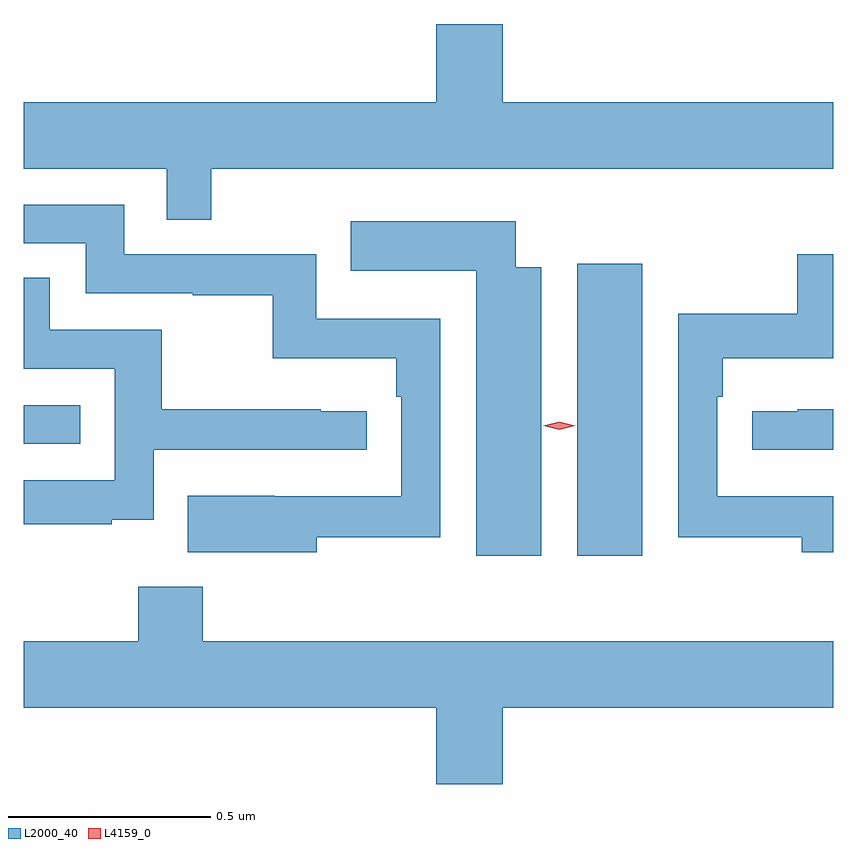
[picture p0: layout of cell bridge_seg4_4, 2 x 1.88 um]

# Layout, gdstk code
import gdstk
lib = gdstk.Library(unit=1e-6, precision=1e-09)
def R(c, l, rs):  # rectangles x0, y0, x1, y1
    for r in rs: c.add(gdstk.rectangle(r[:2], r[2:], *l))
def P(c, l, *ps):  # polygons
    for p in ps: c.add(gdstk.Polygon(p, *l))
L2000_40 = (2000, 40)
L4159_0 = (4159, 0)

bridge_seg4_4 = lib.new_cell('bridge_seg4_4')
R(bridge_seg4_4, L2000_40, [(908.612,785.208,908.773,785.929), (907.245,785.484,907.385,785.58)])
P(bridge_seg4_4, L2000_40, [(907.708,786.164),(909.245,786.164),(909.245,786.328),(908.428,786.328),(908.428,786.521),(908.264,786.521),(908.264,786.328),(907.245,786.328),(907.245,786.164),(907.599,786.164),(907.599,786.037),(907.708,786.037)],
  [(907.969,785.254),(908.274,785.254),(908.274,785.793),(907.968,785.793),(907.968,785.952),(907.494,785.952),(907.494,786.075),(907.245,786.075),(907.245,785.979),(907.398,785.979),(907.398,785.856),(907.663,785.856),(907.663,785.851),(907.86,785.851),(907.86,785.696),(908.165,785.696),(908.165,785.6),(908.178,785.6),(908.178,785.355),(907.865,785.355),(907.865,785.356),(907.651,785.356),(907.651,785.216),(907.969,785.216)],
  [(908.524,785.92),(908.461,785.92),(908.461,786.034),(908.053,786.034),(908.053,785.912),(908.363,785.912),(908.363,785.208),(908.524,785.208)],
  [(909.245,785.355),(908.958,785.355),(908.958,785.6),(908.972,785.6),(908.972,785.696),(909.245,785.696),(909.245,785.952),(909.156,785.952),(909.156,785.806),(908.862,785.806),(908.862,785.254),(909.167,785.254),(909.167,785.216),(909.245,785.216)],
  [(907.463,785.297),(907.566,785.297),(907.566,785.469),(908.092,785.469),(908.092,785.565),(907.979,785.565),(907.979,785.57),(907.586,785.57),(907.586,785.766),(907.309,785.766),(907.309,785.894),(907.245,785.894),(907.245,785.67),(907.47,785.67),(907.47,785.394),(907.245,785.394),(907.245,785.286),(907.463,785.286)],
  [(909.245,785.57),(909.157,785.57),(909.157,785.565),(909.045,785.565),(909.045,785.469),(909.245,785.469)],
  [(908.428,784.832),(909.245,784.832),(909.245,784.996),(907.688,784.996),(907.688,785.131),(907.528,785.131),(907.528,784.996),(907.245,784.996),(907.245,784.832),(908.264,784.832),(908.264,784.644),(908.428,784.644)])
P(bridge_seg4_4, L4159_0, [(908.568,785.519),(908.528,785.529),(908.528,785.529),(908.528,785.529),(908.568,785.539),(908.608,785.529),(908.608,785.529),(908.608,785.529)])

lib.write_gds('bridge_seg4_4.gds')
